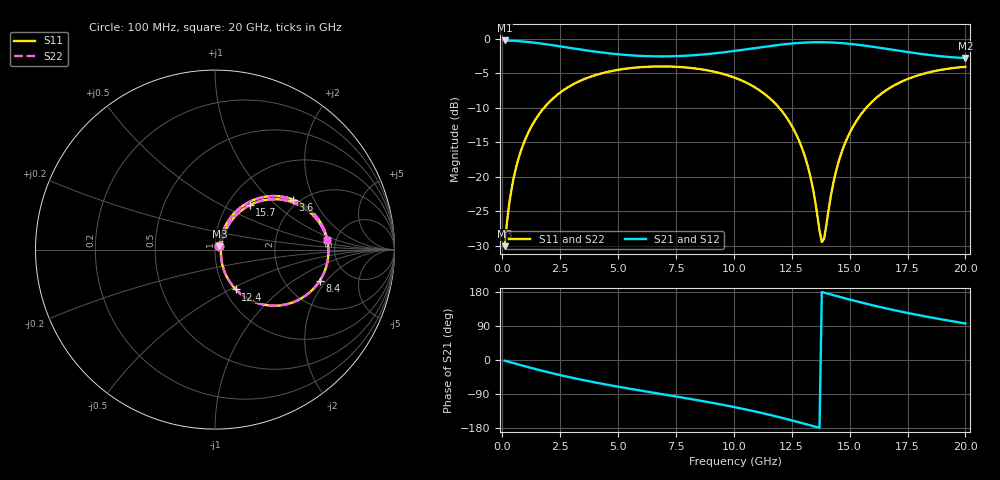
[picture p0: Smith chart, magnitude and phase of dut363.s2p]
! Touchstone file exported from HFSS 2026.1.0
!  File:  C:/ffzhzh/LocalFiles/Ansys_Project_Files/temp_train_TSV_RDL_363_1783039154_4048.aedt
!  Generated:  08:55:25 AM Jul  3, 2026
!  Design:  TSV_RDL
!  Project:  temp_train_TSV_RDL_363_1783039154_4048
! Variables:
!  h_bsmrdl = 4.94um
!  h_ox = 20um
!  h_rdl = 5um
!  h_sub = 75.03um
!  h_tmrdl = 3.6um
!  h_tsv = 75.03um
!  h_via = 3um
!  l_bsmrdl = 823.95um
!  l_sub = 4442.24um
!  l_tmrdl = 368.62um
!  m_sub = 200um
!  pitch = 50.09um
!  r_tsv = 8.73um
!  s_tmrdl = 10um
!  w_bsmrdl = 10.61um
!  w_sub = 500um
!  w_tmrdl = 21.36um
!  x_tsv_center1 = 379.3um
!  x_tsv_center2 = 1213.86um
!  x_tsv_center3 = 1603.84um
!  x_tsv_center4 = 2438.4um
!  x_tsv_center5 = 2828.38um
!  x_tsv_center6 = 3662.94um
# GHz S MA R 50.000000
! Terminal data exported
! Port[1] = TM_RDL1_1_T1
! Port[2] = TM_RDL5_1_T1
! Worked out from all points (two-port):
!   200 points, 100 MHz to 20 GHz, reference 50 ohm
!   highest |S21| = -0.22 dB at 100 MHz (marker M1); lowest = -2.8 dB at 20 GHz (marker M2)
!   |S21| within 3 dB of the highest: start of sweep to end of sweep
!   lowest |S11| = -30.0 dB at 100 MHz (marker M3), VSWR 1.07, Z = 52.5 + j2.02 ohm
!   |S11| at or under -10 dB: start of sweep to 1.798 GHz; 11.96 GHz to 15.71 GHz (3.75 GHz wide, 27.1 % of centre)
!   |S22| runs from -30.0 to -4.0 dB; largest |S21 - S12| = 2e-14
!   S11 on the Smith chart (normalised r, x): 100 MHz: 1.05, +0.04; 3.6 GHz: 1.85, +1.41; 8.4 GHz: 3.10, -1.71; 12.4 GHz: 1.13, -0.54; 15.7 GHz: 1.27, +0.70; 20 GHz: 4.25, +0.73
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0.1  0.03153 37.5  0.9754 -1.8  0.9754 -1.8  0.03153 37.5
! Gamma 0 0 0 0
! Port Impedance 50 0 50 0
0.3  0.06406 61.4  0.9728 -5.2  0.9728 -5.2  0.06406 61.4
0.5  0.09996 66.1  0.9691 -8.6  0.9691 -8.6  0.09996 66.1
1.1  0.2058 63.7  0.9513 -18.6  0.9513 -18.6  0.2058 63.7
2.1  0.3586 51.4  0.9053 -34.1  0.9053 -34.1  0.3586 51.4
3.5  0.5087 33.8  0.8327 -53.1  0.8327 -53.1  0.5087 33.8
3.6  0.5168 32.6  0.828 -54.3  0.828 -54.3  0.5168 32.6
5.2  0.6047 15.2  0.7691 -72.6  0.7691 -72.6  0.6047 15.2
6.8  0.6325 -0.7  0.7478 -89.1  0.7478 -89.1  0.6325 -0.7
8.4  0.6092 -16.5  0.7652 -105.7  0.7652 -105.7  0.6092 -16.5
10.1  0.5195 -34.8  0.822 -125.2  0.822 -125.2  0.5195 -34.8
11.4  0.3908 -50.4  0.8818 -142.6  0.8818 -142.6  0.3908 -50.4
12.4  0.2508 -62.4  0.9235 -157.7  0.9235 -157.7  0.2508 -62.3
13  0.1525 -66.8  0.9403 -167.4  0.9403 -167.4  0.1525 -66.7
13.4  0.08487 -62.7  0.9462 -174.0  0.9462 -174.0  0.08493 -62.6
13.8  0.0338 -11.8  0.9474 179.3  0.9474 179.3  0.03395 -11.8
13.9  0.03565 16.8  0.9469 177.7  0.9469 177.7  0.03578 16.7
14.3  0.09115 58.1  0.9418 171.0  0.9418 171.0  0.0912 58.1
14.6  0.1417 61.2  0.935 166.1  0.935 166.1  0.1417 61.1
15.7  0.3147 51.9  0.8927 148.7  0.8927 148.7  0.3147 51.9
16.7  0.4383 39.9  0.8427 134.5  0.8427 134.5  0.4383 39.8
20  0.6283 4.8  0.7267 96.4  0.7267 96.4  0.6283 4.7
